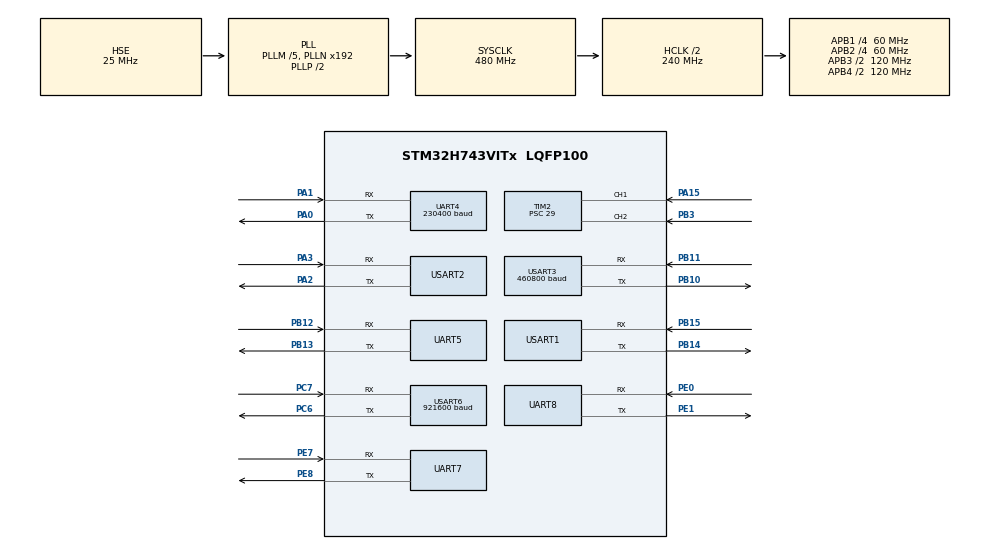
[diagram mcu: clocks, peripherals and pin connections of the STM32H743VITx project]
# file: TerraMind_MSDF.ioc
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CORTEX_M7.default_mode_Activation=1
Dma.Request0=UART4_TX
Dma.Request1=UART5_TX
Dma.Request2=UART7_TX
Dma.Request3=UART8_TX
Dma.Request4=USART1_TX
Dma.Request5=USART2_TX
Dma.Request6=USART3_TX
Dma.Request7=USART6_TX
Dma.UART4_TX.0.Direction=DMA_MEMORY_TO_PERIPH
Dma.UART4_TX.0.EventEnable=DISABLE
Dma.UART4_TX.0.FIFOMode=DMA_FIFOMODE_ENABLE
Dma.UART4_TX.0.FIFOThreshold=DMA_FIFO_THRESHOLD_FULL
Dma.UART4_TX.0.Instance=DMA1_Stream0
Dma.UART4_TX.0.MemBurst=DMA_MBURST_SINGLE
Dma.UART4_TX.0.MemDataAlignment=DMA_MDATAALIGN_BYTE
Dma.UART4_TX.0.MemInc=DMA_MINC_ENABLE
Dma.UART4_TX.0.Mode=DMA_NORMAL
Dma.UART4_TX.0.PeriphBurst=DMA_PBURST_SINGLE
Dma.UART4_TX.0.PeriphDataAlignment=DMA_PDATAALIGN_BYTE
Dma.UART4_TX.0.PeriphInc=DMA_PINC_DISABLE
Dma.UART4_TX.0.Polarity=HAL_DMAMUX_REQ_GEN_RISING
Dma.UART4_TX.0.Priority=DMA_PRIORITY_LOW
Dma.UART4_TX.0.RequestNumber=1
Dma.UART4_TX.0.SignalID=NONE
Dma.UART4_TX.0.SyncEnable=DISABLE
Dma.UART4_TX.0.SyncPolarity=HAL_DMAMUX_SYNC_NO_EVENT
Dma.UART4_TX.0.SyncRequestNumber=1
Dma.UART4_TX.0.SyncSignalID=NONE
Dma.UART5_TX.1.Direction=DMA_MEMORY_TO_PERIPH
Dma.UART5_TX.1.EventEnable=DISABLE
Dma.UART5_TX.1.FIFOMode=DMA_FIFOMODE_ENABLE
Dma.UART5_TX.1.FIFOThreshold=DMA_FIFO_THRESHOLD_FULL
Dma.UART5_TX.1.Instance=DMA1_Stream1
Dma.UART5_TX.1.MemBurst=DMA_MBURST_SINGLE
Dma.UART5_TX.1.MemDataAlignment=DMA_MDATAALIGN_BYTE
Dma.UART5_TX.1.MemInc=DMA_MINC_ENABLE
Dma.UART5_TX.1.Mode=DMA_NORMAL
Dma.UART5_TX.1.PeriphBurst=DMA_PBURST_SINGLE
Dma.UART5_TX.1.PeriphDataAlignment=DMA_PDATAALIGN_BYTE
Dma.UART5_TX.1.PeriphInc=DMA_PINC_DISABLE
Dma.UART5_TX.1.Polarity=HAL_DMAMUX_REQ_GEN_RISING
Dma.UART5_TX.1.Priority=DMA_PRIORITY_LOW
Dma.UART5_TX.1.RequestNumber=1
Dma.UART5_TX.1.SignalID=NONE
Dma.UART5_TX.1.SyncEnable=DISABLE
Dma.UART5_TX.1.SyncPolarity=HAL_DMAMUX_SYNC_NO_EVENT
Dma.UART5_TX.1.SyncRequestNumber=1
Dma.UART5_TX.1.SyncSignalID=NONE
Dma.UART7_TX.2.Direction=DMA_MEMORY_TO_PERIPH
Dma.UART7_TX.2.EventEnable=DISABLE
Dma.UART7_TX.2.FIFOMode=DMA_FIFOMODE_ENABLE
Dma.UART7_TX.2.FIFOThreshold=DMA_FIFO_THRESHOLD_FULL
Dma.UART7_TX.2.Instance=DMA1_Stream2
Dma.UART7_TX.2.MemBurst=DMA_MBURST_SINGLE
Dma.UART7_TX.2.MemDataAlignment=DMA_MDATAALIGN_BYTE
Dma.UART7_TX.2.MemInc=DMA_MINC_ENABLE
Dma.UART7_TX.2.Mode=DMA_NORMAL
Dma.UART7_TX.2.PeriphBurst=DMA_PBURST_SINGLE
Dma.UART7_TX.2.PeriphDataAlignment=DMA_PDATAALIGN_BYTE
Dma.UART7_TX.2.PeriphInc=DMA_PINC_DISABLE
Dma.UART7_TX.2.Polarity=HAL_DMAMUX_REQ_GEN_RISING
Dma.UART7_TX.2.Priority=DMA_PRIORITY_LOW
Dma.UART7_TX.2.RequestNumber=1
Dma.UART7_TX.2.SignalID=NONE
Dma.UART7_TX.2.SyncEnable=DISABLE
Dma.UART7_TX.2.SyncPolarity=HAL_DMAMUX_SYNC_NO_EVENT
Dma.UART7_TX.2.SyncRequestNumber=1
Dma.UART7_TX.2.SyncSignalID=NONE
Dma.UART8_TX.3.Direction=DMA_MEMORY_TO_PERIPH
Dma.UART8_TX.3.EventEnable=DISABLE
Dma.UART8_TX.3.FIFOMode=DMA_FIFOMODE_ENABLE
Dma.UART8_TX.3.FIFOThreshold=DMA_FIFO_THRESHOLD_FULL
Dma.UART8_TX.3.Instance=DMA1_Stream3
Dma.UART8_TX.3.MemBurst=DMA_MBURST_SINGLE
Dma.UART8_TX.3.MemDataAlignment=DMA_MDATAALIGN_BYTE
Dma.UART8_TX.3.MemInc=DMA_MINC_ENABLE
Dma.UART8_TX.3.Mode=DMA_NORMAL
Dma.UART8_TX.3.PeriphBurst=DMA_PBURST_SINGLE
Dma.UART8_TX.3.PeriphDataAlignment=DMA_PDATAALIGN_BYTE
Dma.UART8_TX.3.PeriphInc=DMA_PINC_DISABLE
Dma.UART8_TX.3.Polarity=HAL_DMAMUX_REQ_GEN_RISING
Dma.UART8_TX.3.Priority=DMA_PRIORITY_LOW
Dma.UART8_TX.3.RequestNumber=1
Dma.UART8_TX.3.SignalID=NONE
Dma.UART8_TX.3.SyncEnable=DISABLE
Dma.UART8_TX.3.SyncPolarity=HAL_DMAMUX_SYNC_NO_EVENT
Dma.UART8_TX.3.SyncRequestNumber=1
Dma.UART8_TX.3.SyncSignalID=NONE
Dma.USART1_TX.4.Direction=DMA_MEMORY_TO_PERIPH
Dma.USART1_TX.4.EventEnable=DISABLE
Dma.USART1_TX.4.FIFOMode=DMA_FIFOMODE_ENABLE
Dma.USART1_TX.4.FIFOThreshold=DMA_FIFO_THRESHOLD_FULL
Dma.USART1_TX.4.Instance=DMA1_Stream4
Dma.USART1_TX.4.MemBurst=DMA_MBURST_SINGLE
Dma.USART1_TX.4.MemDataAlignment=DMA_MDATAALIGN_BYTE
Dma.USART1_TX.4.MemInc=DMA_MINC_ENABLE
Dma.USART1_TX.4.Mode=DMA_NORMAL
Dma.USART1_TX.4.PeriphBurst=DMA_PBURST_SINGLE
Dma.USART1_TX.4.PeriphDataAlignment=DMA_PDATAALIGN_BYTE
Dma.USART1_TX.4.PeriphInc=DMA_PINC_DISABLE
Dma.USART1_TX.4.Polarity=HAL_DMAMUX_REQ_GEN_RISING
Dma.USART1_TX.4.Priority=DMA_PRIORITY_LOW
Dma.USART1_TX.4.RequestNumber=1
Dma.USART1_TX.4.SignalID=NONE
Dma.USART1_TX.4.SyncEnable=DISABLE
Dma.USART1_TX.4.SyncPolarity=HAL_DMAMUX_SYNC_NO_EVENT
Dma.USART1_TX.4.SyncRequestNumber=1
Dma.USART1_TX.4.SyncSignalID=NONE
Dma.USART2_TX.5.Direction=DMA_MEMORY_TO_PERIPH
Dma.USART2_TX.5.EventEnable=DISABLE
Dma.USART2_TX.5.FIFOMode=DMA_FIFOMODE_ENABLE
Dma.USART2_TX.5.FIFOThreshold=DMA_FIFO_THRESHOLD_FULL
Dma.USART2_TX.5.Instance=DMA1_Stream5
Dma.USART2_TX.5.MemBurst=DMA_MBURST_SINGLE
Dma.USART2_TX.5.MemDataAlignment=DMA_MDATAALIGN_BYTE
Dma.USART2_TX.5.MemInc=DMA_MINC_ENABLE
Dma.USART2_TX.5.Mode=DMA_NORMAL
Dma.USART2_TX.5.PeriphBurst=DMA_PBURST_SINGLE
Dma.USART2_TX.5.PeriphDataAlignment=DMA_PDATAALIGN_BYTE
Dma.USART2_TX.5.PeriphInc=DMA_PINC_DISABLE
Dma.USART2_TX.5.Polarity=HAL_DMAMUX_REQ_GEN_RISING
Dma.USART2_TX.5.Priority=DMA_PRIORITY_LOW
Dma.USART2_TX.5.RequestNumber=1
Dma.USART2_TX.5.SignalID=NONE
Dma.USART2_TX.5.SyncEnable=DISABLE
Dma.USART2_TX.5.SyncPolarity=HAL_DMAMUX_SYNC_NO_EVENT
Dma.USART2_TX.5.SyncRequestNumber=1
Dma.USART2_TX.5.SyncSignalID=NONE
Dma.USART3_TX.6.Direction=DMA_MEMORY_TO_PERIPH
Dma.USART3_TX.6.EventEnable=DISABLE
Dma.USART3_TX.6.FIFOMode=DMA_FIFOMODE_ENABLE
Dma.USART3_TX.6.FIFOThreshold=DMA_FIFO_THRESHOLD_FULL
Dma.USART3_TX.6.Instance=DMA1_Stream6
Dma.USART3_TX.6.MemBurst=DMA_MBURST_SINGLE
Dma.USART3_TX.6.MemDataAlignment=DMA_MDATAALIGN_BYTE
Dma.USART3_TX.6.MemInc=DMA_MINC_ENABLE
Dma.USART3_TX.6.Mode=DMA_NORMAL
Dma.USART3_TX.6.PeriphBurst=DMA_PBURST_SINGLE
Dma.USART3_TX.6.PeriphDataAlignment=DMA_PDATAALIGN_BYTE
Dma.USART3_TX.6.PeriphInc=DMA_PINC_DISABLE
Dma.USART3_TX.6.Polarity=HAL_DMAMUX_REQ_GEN_RISING
Dma.USART3_TX.6.Priority=DMA_PRIORITY_LOW
Dma.USART3_TX.6.RequestNumber=1
Dma.USART3_TX.6.SignalID=NONE
Dma.USART3_TX.6.SyncEnable=DISABLE
Dma.USART3_TX.6.SyncPolarity=HAL_DMAMUX_SYNC_NO_EVENT
Dma.USART3_TX.6.SyncRequestNumber=1
Dma.USART3_TX.6.SyncSignalID=NONE
Dma.USART6_TX.7.Direction=DMA_MEMORY_TO_PERIPH
Dma.USART6_TX.7.EventEnable=DISABLE
Dma.USART6_TX.7.FIFOMode=DMA_FIFOMODE_ENABLE
Dma.USART6_TX.7.FIFOThreshold=DMA_FIFO_THRESHOLD_FULL
Dma.USART6_TX.7.Instance=DMA1_Stream7
Dma.USART6_TX.7.MemBurst=DMA_MBURST_SINGLE
Dma.USART6_TX.7.MemDataAlignment=DMA_MDATAALIGN_BYTE
Dma.USART6_TX.7.MemInc=DMA_MINC_ENABLE
Dma.USART6_TX.7.Mode=DMA_NORMAL
Dma.USART6_TX.7.PeriphBurst=DMA_PBURST_SINGLE
Dma.USART6_TX.7.PeriphDataAlignment=DMA_PDATAALIGN_BYTE
Dma.USART6_TX.7.PeriphInc=DMA_PINC_DISABLE
Dma.USART6_TX.7.Polarity=HAL_DMAMUX_REQ_GEN_RISING
Dma.USART6_TX.7.Priority=DMA_PRIORITY_LOW
Dma.USART6_TX.7.RequestNumber=1
Dma.USART6_TX.7.SignalID=NONE
Dma.USART6_TX.7.SyncEnable=DISABLE
Dma.USART6_TX.7.SyncPolarity=HAL_DMAMUX_SYNC_NO_EVENT
Dma.USART6_TX.7.SyncRequestNumber=1
Dma.USART6_TX.7.SyncSignalID=NONE
FREERTOS.Tasks01=defaultTask,32,1536,StartDefaultTask,Default,NULL,Dynamic,NULL,NULL
Mcu.Family=STM32H7
Mcu.Name=STM32H743VITx
Mcu.Package=LQFP100
NVIC.DMA1_Stream0_IRQn=true\:5\:0\:false\:false\:true\:true\:false\:true\:true
NVIC.DMA1_Stream1_IRQn=true\:5\:0\:false\:false\:true\:true\:false\:true\:true
NVIC.DMA1_Stream2_IRQn=true\:5\:0\:false\:false\:true\:true\:false\:true\:true
NVIC.DMA1_Stream3_IRQn=true\:5\:0\:false\:false\:true\:true\:false\:true\:true
NVIC.DMA1_Stream4_IRQn=true\:5\:0\:false\:false\:true\:true\:false\:true\:true
NVIC.DMA1_Stream5_IRQn=true\:5\:0\:false\:false\:true\:true\:false\:true\:true
NVIC.DMA1_Stream6_IRQn=true\:5\:0\:false\:false\:true\:true\:false\:true\:true
NVIC.DMA1_Stream7_IRQn=true\:5\:0\:false\:false\:true\:true\:false\:true\:true
NVIC.PriorityGroup=NVIC_PRIORITYGROUP_4
NVIC.TIM2_IRQn=true\:5\:0\:false\:false\:true\:true\:true\:true\:true
NVIC.TIM8_UP_TIM13_IRQn=true\:15\:0\:false\:false\:true\:false\:false\:true\:true
NVIC.TimeBase=TIM8_UP_TIM13_IRQn
NVIC.TimeBaseIP=TIM8
NVIC.UART4_IRQn=true\:5\:0\:false\:false\:true\:true\:true\:true\:true
NVIC.UART5_IRQn=true\:5\:0\:false\:false\:true\:true\:true\:true\:true
NVIC.UART7_IRQn=true\:5\:0\:false\:false\:true\:true\:true\:true\:true
NVIC.UART8_IRQn=true\:5\:0\:false\:false\:true\:true\:true\:true\:true
NVIC.USART1_IRQn=true\:5\:0\:false\:false\:true\:true\:true\:true\:true
NVIC.USART2_IRQn=true\:5\:0\:false\:false\:true\:true\:true\:true\:true
NVIC.USART3_IRQn=true\:5\:0\:false\:false\:true\:true\:true\:true\:true
NVIC.USART6_IRQn=true\:5\:0\:false\:false\:true\:true\:true\:true\:true
PA0.Mode=Asynchronous
PA0.Signal=UART4_TX
PA1.Mode=Asynchronous
PA1.Signal=UART4_RX
PA13\ (JTMS/SWDIO).Mode=Serial_Wire
PA13\ (JTMS/SWDIO).Signal=DEBUG_JTMS-SWDIO
PA14\ (JTCK/SWCLK).Mode=Serial_Wire
PA14\ (JTCK/SWCLK).Signal=DEBUG_JTCK-SWCLK
PA15\ (JTDI).Signal=S_TIM2_CH1_ETR
PA2.Mode=Asynchronous
PA2.Signal=USART2_TX
PA3.Mode=Asynchronous
PA3.Signal=USART2_RX
PB10.Mode=Asynchronous
PB10.Signal=USART3_TX
PB11.Mode=Asynchronous
PB11.Signal=USART3_RX
PB12.Mode=Asynchronous
PB12.Signal=UART5_RX
PB13.Mode=Asynchronous
PB13.Signal=UART5_TX
PB14.Mode=Asynchronous
PB14.Signal=USART1_TX
PB15.Mode=Asynchronous
PB15.Signal=USART1_RX
PB3\ (JTDO/TRACESWO).Signal=S_TIM2_CH2
PC14-OSC32_IN\ (OSC32_IN).Mode=LSE-External-Oscillator
PC14-OSC32_IN\ (OSC32_IN).Signal=RCC_OSC32_IN
PC15-OSC32_OUT\ (OSC32_OUT).Mode=LSE-External-Oscillator
PC15-OSC32_OUT\ (OSC32_OUT).Signal=RCC_OSC32_OUT
PC6.Mode=Asynchronous
PC6.Signal=USART6_TX
PC7.Mode=Asynchronous
PC7.Signal=USART6_RX
PE0.Mode=Asynchronous
PE0.Signal=UART8_RX
PE1.Mode=Asynchronous
PE1.Signal=UART8_TX
PE7.Mode=Asynchronous
PE7.Signal=UART7_RX
PE8.Mode=Asynchronous
PE8.Signal=UART7_TX
PH0-OSC_IN\ (PH0).Mode=HSE-External-Oscillator
PH0-OSC_IN\ (PH0).Signal=RCC_OSC_IN
PH1-OSC_OUT\ (PH1).Mode=HSE-External-Oscillator
PH1-OSC_OUT\ (PH1).Signal=RCC_OSC_OUT
ProjectManager.HeapSize=0x200
ProjectManager.StackSize=0x400
ProjectManager.TargetToolchain=MDK-ARM V5.32
RCC.ADCFreq_Value=50390625
RCC.APB1Freq_Value=60000000
RCC.APB2Freq_Value=60000000
RCC.APB3Freq_Value=120000000
RCC.APB4Freq_Value=120000000
RCC.CortexFreq_Value=480000000
RCC.D1PPRE=RCC_APB3_DIV2
RCC.D2PPRE1=RCC_APB1_DIV4
RCC.D2PPRE2=RCC_APB2_DIV4
RCC.D3PPRE=RCC_APB4_DIV2
RCC.DIVM1=5
RCC.DIVN1=192
RCC.DIVQ1=4
RCC.HCLKFreq_Value=240000000
RCC.HPRE=RCC_HCLK_DIV2
RCC.HSE_VALUE=25000000
RCC.PLL2FRACN=0
RCC.PLL3FRACN=0
RCC.PLLFRACN=0
RCC.PLLSourceVirtual=RCC_PLLSOURCE_HSE
RCC.SYSCLKFreq_VALUE=480000000
RCC.SYSCLKSource=RCC_SYSCLKSOURCE_PLLCLK
RCC.USBFreq_Value=240000000
SH.S_TIM2_CH1_ETR.0=TIM2_CH1,Input_Capture1_from_TI1
SH.S_TIM2_CH2.0=TIM2_CH2,Input_Capture2_from_TI2
STMicroelectronics.X-CUBE-ALGOBUILD.1.5.0.LibraryCcDSPOoLibraryJjDSPOoLibrary=true
STMicroelectronics.X-CUBE-ALGOBUILD.1.5.0.LibraryCcMotionOoLibrariesJjMotionOoLibraries=true
TIM2.Channel-Input_Capture1_from_TI1=TIM_CHANNEL_1
TIM2.Channel-Input_Capture2_from_TI2=TIM_CHANNEL_2
TIM2.ICPolarity_CH1=TIM_INPUTCHANNELPOLARITY_FALLING
TIM2.ICPolarity_CH2=TIM_INPUTCHANNELPOLARITY_FALLING
TIM2.Prescaler=29
UART4.BaudRate=230400
UART4.RxPinLevelInvertParam=UART_ADVFEATURE_RXINV_DISABLE
UART4.TxPinLevelInvertParam=UART_ADVFEATURE_TXINV_DISABLE
USART1.VirtualMode-Asynchronous=VM_ASYNC
USART2.VirtualMode-Asynchronous=VM_ASYNC
USART3.VirtualMode-Asynchronous=VM_ASYNC
USART6.BaudRate=921600
USART6.VirtualMode=VM_ASYNC
VP_FREERTOS_VS_CMSIS_V2.Mode=CMSIS_V2
VP_MEMORYMAP_VS_MEMORYMAP.Mode=CurAppReg
VP_STMicroelectronics.X-CUBE-ALGOBUILD_VS_DSPOoLibraryJjLibrary_1.5.0_1.5.0.Mode=DSPOoLibraryJjLibrary
VP_STMicroelectronics.X-CUBE-ALGOBUILD_VS_MotionOoLibrariesJjLibrary_1.5.0_1.5.0.Mode=MotionOoLibrariesJjLibrary
VP_SYS_VS_tim8.Mode=TIM8
board=custom
USART3.BaudRate=460800

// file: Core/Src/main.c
/* USER CODE BEGIN Header */
/**
  ******************************************************************************
  * @file           : main.c
  * @brief          : Main program body
  ******************************************************************************
  * @attention
  *
  * Copyright (c) 2026 STMicroelectronics.
  * All rights reserved.
  *
  * This software is licensed under terms that can be found in the LICENSE file
  * in the root directory of this software component.
  * If no LICENSE file comes with this software, it is provided AS-IS.
  *
  ******************************************************************************
  */
/* USER CODE END Header */
#include "main.h"
#include "FreeRTOS.h"
#include "cmsis_os2.h"
#include "dma.h"
#include "tim.h"
#include "usart.h"
#include "gpio.h"

/* USER CODE BEGIN Includes */
#include "../../TerraMind_FW/BSP/time_sync_capture.h"

/* USER CODE END Includes */

/* USER CODE BEGIN PV */
volatile uint32_t g_boot_stage = 0xB0070000u;

/* USER CODE END PV */

void SystemClock_Config(void);
static void MPU_Config(void);
void MX_FREERTOS_Init(void);

int main(void)
{

  /* USER CODE BEGIN 1 */
  g_boot_stage = 0xB0070001u;

  /* USER CODE END 1 */

  /* MPU Configuration--------------------------------------------------------*/
  MPU_Config();

  /* MCU Configuration--------------------------------------------------------*/

  /* Reset of all peripherals, Initializes the Flash interface and the Systick. */
  HAL_Init();

  /* Configure the system clock */
  SystemClock_Config();

  /* Initialize all configured peripherals */
  MX_GPIO_Init();
  MX_DMA_Init();
  MX_UART4_Init();
  MX_UART5_Init();
  MX_UART7_Init();
  MX_UART8_Init();
  MX_USART1_UART_Init();
  MX_USART2_UART_Init();
  MX_USART3_UART_Init();
  MX_USART6_UART_Init();
  MX_TIM2_Init();
  /* USER CODE BEGIN 2 */
  if (!TimeSync_Init())
  {
    g_boot_stage = 0xB00700E3u;
    Error_Handler();
  }
  g_boot_stage = 0xB0070020u;

  /* USER CODE END 2 */

  /* Init scheduler */
  osKernelInitialize();  /* Call init function for freertos objects (in cmsis_os2.c) */
  MX_FREERTOS_Init();

  /* Start scheduler */
  osKernelStart();

  /* We should never get here as control is now taken by the scheduler */

  /* Infinite loop */
  while (1)
  {

    /* USER CODE BEGIN 3 */
    g_boot_stage = 0xB00700E2u;
    Error_Handler();
  }
  /* USER CODE END 3 */
}

void SystemClock_Config(void)
{
  RCC_OscInitTypeDef RCC_OscInitStruct = {0};
  RCC_ClkInitTypeDef RCC_ClkInitStruct = {0};

  /** Supply configuration update enable
  */
  HAL_PWREx_ConfigSupply(PWR_LDO_SUPPLY);

  /** Configure the main internal regulator output voltage
  */
  __HAL_PWR_VOLTAGESCALING_CONFIG(PWR_REGULATOR_VOLTAGE_SCALE0);

  while(!__HAL_PWR_GET_FLAG(PWR_FLAG_VOSRDY)) {}

  /** Initializes the RCC Oscillators according to the specified parameters
  * in the RCC_OscInitTypeDef structure.
  */
  RCC_OscInitStruct.OscillatorType = RCC_OSCILLATORTYPE_HSE;
  RCC_OscInitStruct.HSEState = RCC_HSE_ON;
  RCC_OscInitStruct.PLL.PLLState = RCC_PLL_ON;
  RCC_OscInitStruct.PLL.PLLSource = RCC_PLLSOURCE_HSE;
  RCC_OscInitStruct.PLL.PLLM = 5;
  RCC_OscInitStruct.PLL.PLLN = 192;
  RCC_OscInitStruct.PLL.PLLP = 2;
  RCC_OscInitStruct.PLL.PLLQ = 4;
  RCC_OscInitStruct.PLL.PLLR = 2;
  RCC_OscInitStruct.PLL.PLLRGE = RCC_PLL1VCIRANGE_2;
  RCC_OscInitStruct.PLL.PLLVCOSEL = RCC_PLL1VCOWIDE;
  RCC_OscInitStruct.PLL.PLLFRACN = 0;
  if (HAL_RCC_OscConfig(&RCC_OscInitStruct) != HAL_OK)
  {
    Error_Handler();
  }

  /** Initializes the CPU, AHB and APB buses clocks
  */
  RCC_ClkInitStruct.ClockType = RCC_CLOCKTYPE_HCLK|RCC_CLOCKTYPE_SYSCLK
                              |RCC_CLOCKTYPE_PCLK1|RCC_CLOCKTYPE_PCLK2
                              |RCC_CLOCKTYPE_D3PCLK1|RCC_CLOCKTYPE_D1PCLK1;
  RCC_ClkInitStruct.SYSCLKSource = RCC_SYSCLKSOURCE_PLLCLK;
  RCC_ClkInitStruct.SYSCLKDivider = RCC_SYSCLK_DIV1;
  RCC_ClkInitStruct.AHBCLKDivider = RCC_HCLK_DIV2;
  RCC_ClkInitStruct.APB3CLKDivider = RCC_APB3_DIV2;
  RCC_ClkInitStruct.APB1CLKDivider = RCC_APB1_DIV4;
  RCC_ClkInitStruct.APB2CLKDivider = RCC_APB2_DIV4;
  RCC_ClkInitStruct.APB4CLKDivider = RCC_APB4_DIV2;

  if (HAL_RCC_ClockConfig(&RCC_ClkInitStruct, FLASH_LATENCY_4) != HAL_OK)
  {
    Error_Handler();
  }
}

 /* MPU Configuration */

void MPU_Config(void)
{
  MPU_Region_InitTypeDef MPU_InitStruct = {0};

  /* Disables the MPU */
  HAL_MPU_Disable();

  /** Initializes and configures the Region and the memory to be protected
  */
  MPU_InitStruct.Enable = MPU_REGION_ENABLE;
  MPU_InitStruct.Number = MPU_REGION_NUMBER0;
  MPU_InitStruct.BaseAddress = 0x0;
  MPU_InitStruct.Size = MPU_REGION_SIZE_4GB;
  MPU_InitStruct.SubRegionDisable = 0x87;
  MPU_InitStruct.TypeExtField = MPU_TEX_LEVEL0;
  MPU_InitStruct.AccessPermission = MPU_REGION_NO_ACCESS;
  MPU_InitStruct.DisableExec = MPU_INSTRUCTION_ACCESS_DISABLE;
  MPU_InitStruct.IsShareable = MPU_ACCESS_SHAREABLE;
  MPU_InitStruct.IsCacheable = MPU_ACCESS_NOT_CACHEABLE;
  MPU_InitStruct.IsBufferable = MPU_ACCESS_NOT_BUFFERABLE;

  HAL_MPU_ConfigRegion(&MPU_InitStruct);
  /* Enables the MPU */
  HAL_MPU_Enable(MPU_PRIVILEGED_DEFAULT);

}

void HAL_TIM_PeriodElapsedCallback(TIM_HandleTypeDef *htim)
{
  if (htim->Instance == TIM8)
  {
    HAL_IncTick();
  }
}

void Error_Handler(void)
{
  __disable_irq();
  while (1)
  {
  }
}

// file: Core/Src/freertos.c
/* USER CODE BEGIN Header */
/**
  ******************************************************************************
  * File Name          : freertos.c
  * Description        : Code for freertos applications
  ******************************************************************************
  * @attention
  *
  * Copyright (c) 2026 STMicroelectronics.
  * All rights reserved.
  *
  * This software is licensed under terms that can be found in the LICENSE file
  * in the root directory of this software component.
  * If no LICENSE file comes with this software, it is provided AS-IS.
  *
  ******************************************************************************
  */
/* USER CODE END Header */

#include "FreeRTOS.h"
#include "task.h"
#include "main.h"
#include "FreeRTOS.h"
#include "cmsis_os2.h"

/* USER CODE BEGIN Includes */
#include "../../TerraMind_FW/App/app_tasks.h"
#include "../../TerraMind_FW/App/app_navigation.h"

/* USER CODE END Includes */

/* USER CODE BEGIN Variables */
extern volatile uint32_t g_boot_stage;

/* USER CODE END Variables */
/* Definitions for defaultTask */
osThreadId_t defaultTaskHandle;
const osThreadAttr_t defaultTask_attributes = {
  .name = "defaultTask",
  .stack_size = 1536 * 4,
  .priority = (osPriority_t) osPriorityAboveNormal,
};

void StartDefaultTask(void *argument);

void MX_FREERTOS_Init(void); /* (MISRA C 2004 rule 8.1) */

void MX_FREERTOS_Init(void) {

  /* Create the thread(s) */
  /* creation of defaultTask */
  defaultTaskHandle = osThreadNew(StartDefaultTask, NULL, &defaultTask_attributes);

  /* USER CODE BEGIN RTOS_THREADS */
  AppNavigation_StartTask();
  if (defaultTaskHandle == NULL)
  {
    g_boot_stage = 0xB00700E1u;
    Error_Handler();
  }
  /* USER CODE END RTOS_THREADS */

}

void StartDefaultTask(void *argument)
{
  /* USER CODE BEGIN StartDefaultTask */
  (void)argument;
  AppTasks_RunImu();
  g_boot_stage = 0xB00700E8u;
  Error_Handler();
  /* USER CODE END StartDefaultTask */
}
